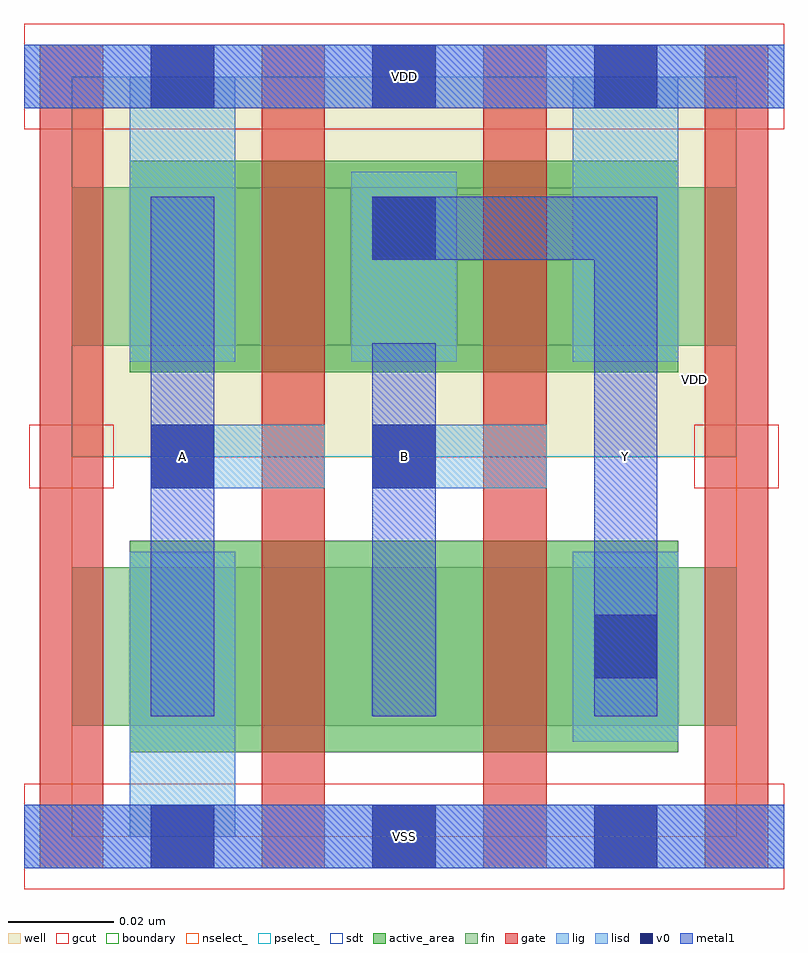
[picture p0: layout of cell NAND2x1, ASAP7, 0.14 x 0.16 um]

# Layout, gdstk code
import gdstk
lib = gdstk.Library(unit=1e-6, precision=2.5e-10)
def R(c, l, rs):  # rectangles x0, y0, x1, y1
    for r in rs: c.add(gdstk.rectangle(r[:2], r[2:], *l))
def A(c, l, x, y, w, h, nx, ny, dx, dy):  # array of equal rectangles
    R(c, l, [(x+i*dx, y+j*dy, x+i*dx+w, y+j*dy+h) for i in range(nx) for j in range(ny)])
def P(c, l, *ps):  # polygons
    for p in ps: c.add(gdstk.Polygon(p, *l))
well = (1, 0)
fin = (2, 0)
gate = (7, 0)
gcut = (10, 0)
active_area = (11, 0)
nselect_ = (12, 0)
pselect_ = (13, 0)
lig = (16, 0)
lisd = (17, 0)
v0 = (18, 0)
metal1 = (19, 0)
sdt = (88, 0)
boundary = (100, 0)

nand2x1 = lib.new_cell('NAND2x1')
R(nand2x1, well, [(0,0.072,0.126,0.144)])
R(nand2x1, fin, [(0,0.021,0.126,0.051), (0,0.093,0.126,0.123)])
A(nand2x1, gate, -0.006, -0.006, 0.012, 0.156, 4, 1, 0.042, 0)
R(nand2x1, gcut, [(-0.009,-0.01,0.135,0.01), (-0.008,0.066,0.008,0.078), (0.118,0.066,0.134,0.078), (-0.009,0.134,0.135,0.154)])
R(nand2x1, active_area, [(0.011,0.016,0.115,0.056), (0.011,0.088,0.115,0.128)])
R(nand2x1, nselect_, [(0,0,0.126,0.072)])
R(nand2x1, pselect_, [(0,0.072,0.126,0.144)])
R(nand2x1, lig, [(-0.009,-0.006,0.135,0.006), (0.015,0.066,0.048,0.078), (0.057,0.066,0.09,0.078), (-0.009,0.138,0.135,0.15)])
R(nand2x1, lisd, [(0.011,0,0.031,0.054), (0.095,0.018,0.115,0.054), (0.011,0.09,0.031,0.144), (0.053,0.09,0.073,0.126), (0.095,0.09,0.115,0.144)])
A(nand2x1, v0, 0.015, -0.006, 0.012, 0.012, 3, 2, 0.042, 0.144)
R(nand2x1, v0, [(0.099,0.03,0.111,0.042), (0.015,0.066,0.027,0.078), (0.057,0.066,0.069,0.078), (0.057,0.1092,0.069,0.1212)])
R(nand2x1, metal1, [(-0.009,-0.006,0.135,0.006), (0.015,0.0227,0.027,0.1212), (0.057,0.0227,0.069,0.0935), (-0.009,0.138,0.135,0.15)])
P(nand2x1, metal1, [(0.111,0.0227),(0.099,0.0227),(0.099,0.1092),(0.057,0.1092),(0.057,0.1212),(0.111,0.1212)])
A(nand2x1, sdt, 0.011, 0.093, 0.02, 0.03, 3, 1, 0.042, 0)
R(nand2x1, sdt, [(0.011,0.021,0.031,0.051), (0.095,0.021,0.115,0.051)])
R(nand2x1, boundary, [(0,0,0.126,0.144)])
nand2x1.add(gdstk.Label('VDD', (0.118,0.0865), layer=1, texttype=251))
nand2x1.add(gdstk.Label('VSS', (0.149,0.0348), layer=3, texttype=251))
nand2x1.add(gdstk.Label('Y', (0.105,0.072), layer=19, texttype=251))
nand2x1.add(gdstk.Label('A', (0.021,0.072), layer=19, texttype=251))
nand2x1.add(gdstk.Label('VSS', (0.063,0), layer=19, texttype=251))
nand2x1.add(gdstk.Label('VDD', (0.063,0.144), layer=19, texttype=251))
nand2x1.add(gdstk.Label('B', (0.063,0.072), layer=19, texttype=251))

lib.write_gds('NAND2x1.gds')
